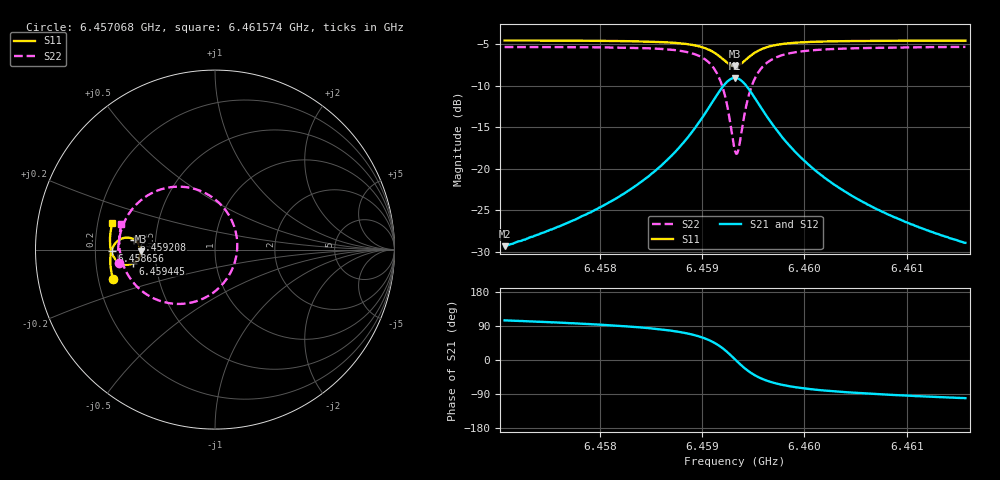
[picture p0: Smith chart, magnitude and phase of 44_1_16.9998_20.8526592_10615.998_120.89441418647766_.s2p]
#  HZ  S  RI  R  50.00
! Rohde & Schwarz Vector Network Analyzer
! Rohde-Schwarz,ZNB20-2Port,1311601062101988,3.16
! Created: UTC 3/20/2024, 10:54:01 PM
! freq[Hz]  re:S11  im:S11  re:S21  im:S21  re:S12  im:S12  re:S22  im:S22
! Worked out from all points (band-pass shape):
!   401 points, 6.457068 GHz to 6.461574 GHz, reference 50 ohm
!   highest |S21| = -9.06 dB at 6.459321 GHz (marker M1); lowest = -29.3 dB at 6.457068 GHz (marker M2)
!   |S21| within 3 dB of the highest: 6.459095 GHz to 6.459546 GHz (450.6 kHz wide, 0.00698 % of centre)
!   lowest |S11| = -7.7 dB at 6.459321 GHz (marker M3), VSWR 2.41, Z = 20.7 - j0.483 ohm
!   |S11| at or under -10 dB: nowhere
!   |S22| runs from -18.2 to -5.3 dB; largest |S21 - S12| = 0.014
!   S11 on the Smith chart (normalised r, x): 6.457068 GHz: 0.26, -0.13; 6.458656 GHz: 0.27, -0.00; 6.459208 GHz: 0.38, +0.05; 6.459445 GHz: 0.37, -0.07; 6.461574 GHz: 0.26, +0.12
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6.4570683e9  -0.5679 -0.1665  -0.00862 0.0332  -0.00685 0.0332  -0.5351 -0.0756
6.457823e9  -0.5812 -0.1  -0.00516 0.0517  -0.00256 0.0509  -0.5389 0.0139
6.4582172e9  -0.5837 -0.0603  0.000537 0.0699  0.00379 0.0685  -0.5305 0.077
6.4585776e9  -0.5794 -0.0169  0.0155 0.1007  0.0194 0.0978  -0.5028 0.1593
6.4586564e9  -0.5765 -0.00577  0.022 0.1106  0.026 0.1072  -0.4904 0.183
6.4588479e9  -0.5627 0.0251  0.0507 0.1428  0.0548 0.1376  -0.4363 0.2535
6.4589831e9  -0.5406 0.0494  0.0949 0.1715  0.0979 0.1646  -0.355 0.3133
6.4591182e9  -0.4956 0.0666  0.1841 0.1875  0.185 0.1802  -0.1918 0.3505
6.4592083e9  -0.4502 0.0554  0.2755 0.1546  0.276 0.1488  -0.0223 0.2964
6.4592759e9  -0.4207 0.0222  0.3366 0.0803  0.3389 0.075  0.0936 0.162
6.459321e9  -0.4139 -0.00966  0.3523 0.0109  0.3562 0.00373  0.124 0.0319
6.4593547e9  -0.4183 -0.0339  0.3458 -0.0425  0.3498 -0.052  0.1108 -0.0694
6.4593998e9  -0.4344 -0.0605  0.3158 -0.103  0.3181 -0.1154  0.0498 -0.1837
6.4594448e9  -0.457 -0.077  0.2727 -0.1443  0.2716 -0.1579  -0.038 -0.2583
6.4595349e9  -0.5013 -0.0839  0.1861 -0.1751  0.1796 -0.1869  -0.2101 -0.3027
6.4596025e9  -0.5259 -0.0764  0.137 -0.1725  0.1288 -0.1816  -0.3048 -0.2864
6.4596814e9  -0.5458 -0.0632  0.0969 -0.1601  0.0882 -0.1663  -0.3796 -0.2504
6.4598391e9  -0.5677 -0.0355  0.0516 -0.1314  0.0438 -0.1342  -0.4604 -0.1768
6.4600756e9  -0.5806 9e-06  0.0223 -0.0991  0.0164 -0.0995  -0.5081 -0.0932
6.4604247e9  -0.5851 0.0418  0.00583 -0.0709  0.00167 -0.0704  -0.5297 -0.0116
6.4608302e9  -0.5835 0.0828  -0.00158 -0.0528  -0.00443 -0.0519  -0.5334 0.0546
6.4615736e9  -0.5717 0.1491  -0.0067 -0.0353  -0.00831 -0.0342  -0.5222 0.1435
